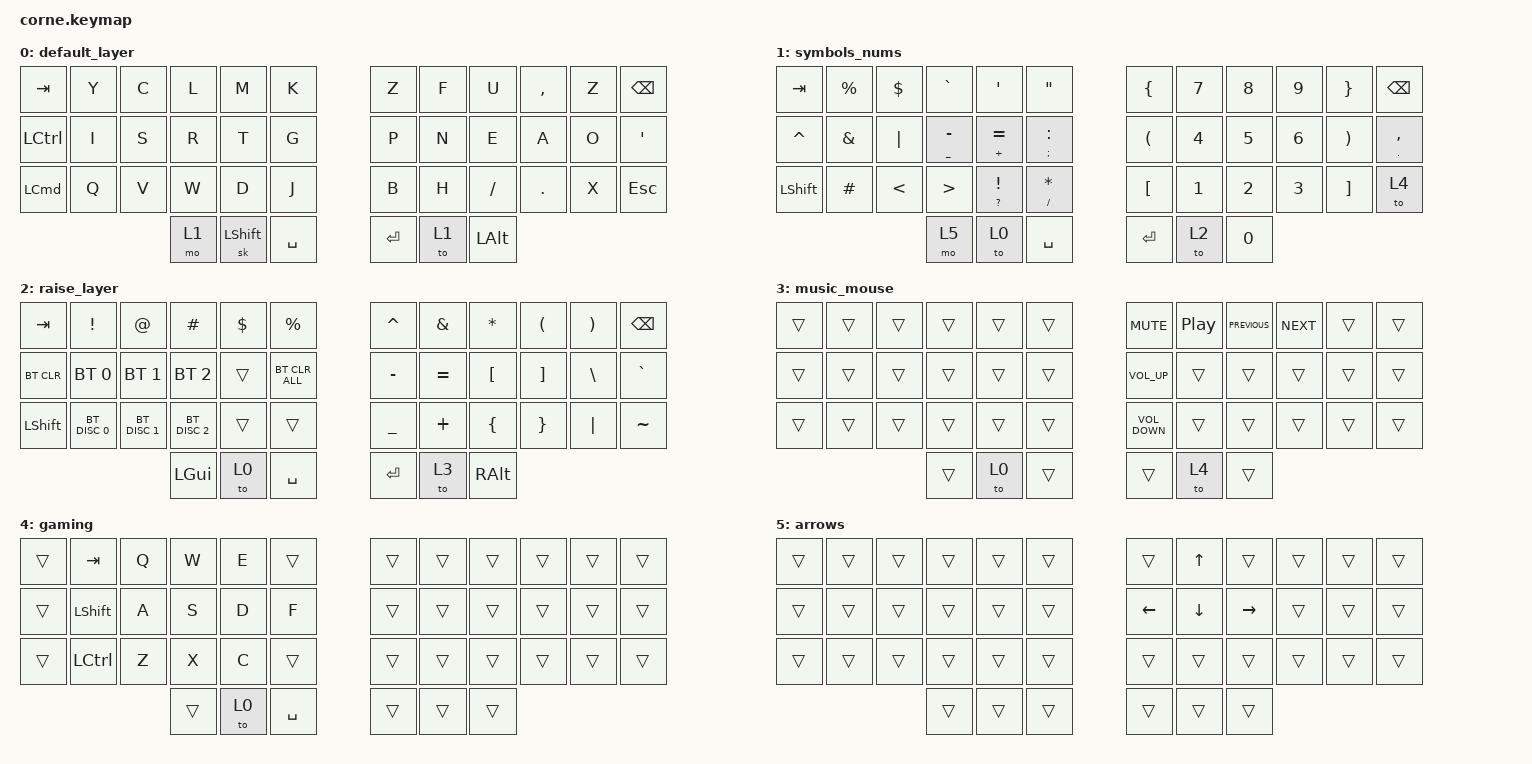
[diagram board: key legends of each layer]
/*
 * Copyright (c) 2020 The ZMK Contributors
 *
 * SPDX-License-Identifier: MIT
 */

#include <behaviors.dtsi>
#include <dt-bindings/zmk/bt.h>
#include <dt-bindings/zmk/keys.h>

/ {
    behaviors {
        hold_tap: hold_tap {
            compatible = "zmk,behavior-hold-tap";
            label = "HOLD_TAP";
            bindings = <&kp>, <&kp>;

            #binding-cells = <2>;
            flavor = "tap-preferred";
            tapping-term-ms = <150>;
        };
    };

    keymap {
        compatible = "zmk,keymap";

        default_layer {
            // -----------------------------------------------------------------------------------------
            // |  TAB |  Q  |  W  |  E  |  R  |  T  |   |  Y  |  U   |  I  |  O  |  P  | BKSP |
            // | CTRL |  A  |  S  |  D  |  F  |  G  |   |  H  |  J   |  K  |  L  |  ;  |  '   |
            // | SHFT |  Z  |  X  |  C  |  V  |  B  |   |  N  |  M   |  ,  |  .  |  /  | ESC  |
            //                    | GUI | LWR | SPC |   | ENT | RSE  | ALT |

            bindings = <
&kp TAB           &kp Y  &kp C  &kp L  &kp M           &kp K        &kp Z    &kp F  &kp U         &kp COMMA  &kp Z  &kp BSPC
&kp LCTRL         &kp I  &kp S  &kp R  &kp T           &kp G        &kp P    &kp N  &kp E         &kp A      &kp O  &kp SQT
&kp LEFT_COMMAND  &kp Q  &kp V  &kp W  &kp D           &kp J        &kp B    &kp H  &kp SLASH     &kp DOT    &kp X  &kp ESC
                                &mo 1  &sk LEFT_SHIFT  &kp SPACE    &kp RET  &to 1  &kp LEFT_ALT
            >;
        };

        symbols_nums {
            // -----------------------------------------------------------------------------------------
            // |  TAB |  1  |  2  |  3  |  4  |  5  |   |  6  |  7  |  8  |  9  |  0  | BKSP |
            // | BTCLR| BT1 | BT2 | BT3 | BT4 | BT5 |   | LFT | DWN |  UP | RGT |     |      |
            // | SHFT |     |     |     |     |     |   |     |     |     |     |     |      |
            //                    | GUI |     | SPC |   | ENT |     | ALT |

            bindings = <
&kp TAB    &kp PERCENT    &kp DOLLAR     &kp GRAVE                   &kp SINGLE_QUOTE                &kp DOUBLE_QUOTES            &kp LEFT_BRACE        &kp N7  &kp N8  &kp N9  &kp RIGHT_BRACE        &kp BSPC
&kp CARET  &kp AMPERSAND  &kp PIPE       &hold_tap UNDERSCORE MINUS  &hold_tap PLUS EQUAL            &hold_tap SEMICOLON COLON    &kp LEFT_PARENTHESIS  &kp N4  &kp N5  &kp N6  &kp RIGHT_PARENTHESIS  &hold_tap PERIOD COMMA
&kp LSHFT  &kp HASH       &kp LESS_THAN  &kp GREATER_THAN            &hold_tap QUESTION EXCLAMATION  &hold_tap SLASH ASTERISK     &kp LEFT_BRACKET      &kp N1  &kp N2  &kp N3  &kp RIGHT_BRACKET      &to 4
                                         &mo 5                       &to 0                           &kp SPACE                    &kp RET               &to 2   &kp N0
            >;
        };

        raise_layer {
            // -----------------------------------------------------------------------------------------
            // |  TAB |  !  |  @  |  #  |  $  |  %  |   |  ^  |  &  |  *  |  (  |  )  | BKSP |
            // | CTRL |     |     |     |     |     |   |  -  |  =  |  [  |  ]  |  \  |  `   |
            // | SHFT |     |     |     |     |     |   |  _  |  +  |  {  |  }  | "|" |  ~   |
            //                    | GUI |     | SPC |   | ENT |     | ALT |

            bindings = <
&kp TAB     &kp EXCL       &kp AT         &kp HASH       &kp DLLR  &kp PRCNT         &kp CARET  &kp AMPS   &kp ASTRK  &kp LPAR  &kp RPAR  &kp BSPC
&bt BT_CLR  &bt BT_SEL 0   &bt BT_SEL 1   &bt BT_SEL 2   &trans    &bt BT_CLR_ALL    &kp MINUS  &kp EQUAL  &kp LBKT   &kp RBKT  &kp BSLH  &kp GRAVE
&kp LSHFT   &bt BT_DISC 0  &bt BT_DISC 1  &bt BT_DISC 2  &trans    &trans            &kp UNDER  &kp PLUS   &kp LBRC   &kp RBRC  &kp PIPE  &kp TILDE
                                          &kp LGUI       &to 0     &kp SPACE         &kp RET    &to 3      &kp RALT
            >;
        };

        music_mouse {
            bindings = <
&trans  &trans  &trans  &trans  &trans  &trans    &kp C_MUTE         &kp C_PLAY_PAUSE  &kp C_PREVIOUS  &kp C_NEXT  &trans  &trans
&trans  &trans  &trans  &trans  &trans  &trans    &kp C_VOLUME_UP    &trans            &trans          &trans      &trans  &trans
&trans  &trans  &trans  &trans  &trans  &trans    &kp C_VOLUME_DOWN  &trans            &trans          &trans      &trans  &trans
                        &trans  &to 0   &trans    &trans             &to 4             &trans
            >;
        };

        gaming {
            bindings = <
&trans  &kp TAB         &kp Q  &kp W   &kp E  &trans       &trans  &trans  &trans  &trans  &trans  &trans
&trans  &kp LEFT_SHIFT  &kp A  &kp S   &kp D  &kp F        &trans  &trans  &trans  &trans  &trans  &trans
&trans  &kp LCTRL       &kp Z  &kp X   &kp C  &trans       &trans  &trans  &trans  &trans  &trans  &trans
                               &trans  &to 0  &kp SPACE    &trans  &trans  &trans
            >;
        };

        arrows {
            bindings = <
&trans  &trans  &trans  &trans  &trans  &trans    &trans    &kp UP_ARROW  &trans     &trans  &trans  &trans
&trans  &trans  &trans  &trans  &trans  &trans    &kp LEFT  &kp DOWN      &kp RIGHT  &trans  &trans  &trans
&trans  &trans  &trans  &trans  &trans  &trans    &trans    &trans        &trans     &trans  &trans  &trans
                        &trans  &trans  &trans    &trans    &trans        &trans
            >;
        };
    };
};
